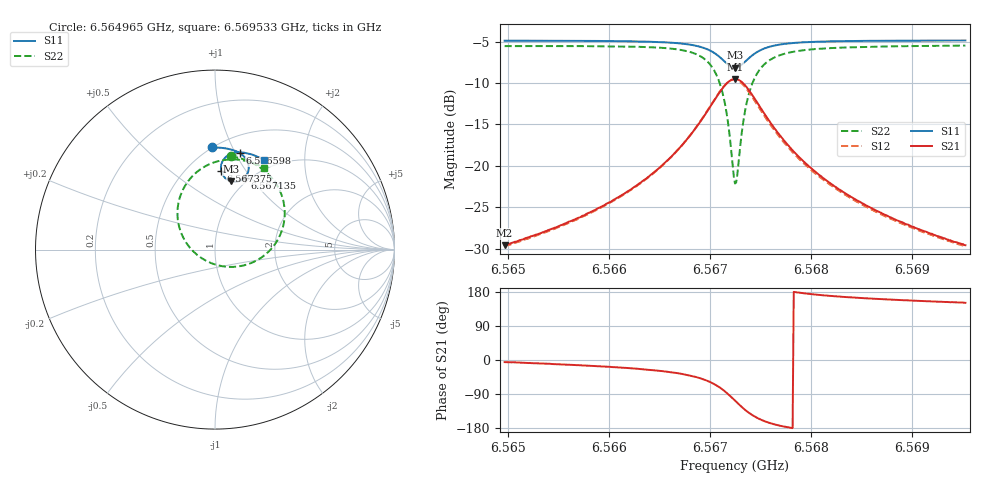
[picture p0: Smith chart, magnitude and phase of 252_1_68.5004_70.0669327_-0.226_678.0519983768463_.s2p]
#  HZ  S  RI  R  50.00
! Rohde & Schwarz Vector Network Analyzer
! Rohde-Schwarz,ZNB20-2Port,1311601062101988,3.16
! Created: UTC 3/20/2024, 5:15:00 PM
! freq[Hz]  re:S11  im:S11  re:S21  im:S21  re:S12  im:S12  re:S22  im:S22
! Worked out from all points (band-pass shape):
!   401 points, 6.564965 GHz to 6.569533 GHz, reference 50 ohm
!   highest |S21| = -9.52 dB at 6.567249 GHz (marker M1); lowest = -29.6 dB at 6.564965 GHz (marker M2)
!   |S21| within 3 dB of the highest: 6.567021 GHz to 6.567478 GHz (456.5 kHz wide, 0.00695 % of centre)
!   lowest |S11| = -8.2 dB at 6.567249 GHz (marker M3), VSWR 2.28, Z = 43.7 + j39.2 ohm
!   |S11| at or under -10 dB: nowhere
!   |S22| runs from -22.1 to -5.5 dB; largest |S21 - S12| = 0.018
!   S11 on the Smith chart (normalised r, x): 6.564965 GHz: 0.50, +0.84; 6.566598 GHz: 0.68, +1.04; 6.567135 GHz: 0.95, +0.93; 6.567375 GHz: 0.72, +0.78; 6.569533 GHz: 0.87, +1.29
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6.5649655e9  -0.0152 0.5689  0.0331 -0.00323  0.0326 -0.00365  0.0887 0.5199
6.5657306e9  0.05 0.5653  0.0483 -0.0123  0.0474 -0.0128  0.1685 0.4997
6.5661645e9  0.0911 0.5571  0.0644 -0.0245  0.0634 -0.0253  0.2276 0.4726
6.5664957e9  0.1276 0.5433  0.0854 -0.0461  0.0842 -0.0471  0.2887 0.4281
6.5665985e9  0.1404 0.5361  0.0944 -0.0582  0.093 -0.0593  0.312 0.4045
6.566804e9  0.1679 0.5115  0.1151 -0.1001  0.1133 -0.1024  0.3642 0.3222
6.5669639e9  0.1863 0.4727  0.1235 -0.1685  0.1201 -0.1724  0.3883 0.1908
6.5670667e9  0.184 0.4317  0.101 -0.2405  0.0939 -0.2457  0.3486 0.0533
6.5671352e9  0.1645 0.4002  0.0529 -0.294  0.041 -0.2977  0.2571 -0.0451
6.5671923e9  0.1329 0.381  -0.0155 -0.3237  -0.0308 -0.3229  0.1292 -0.094
6.5672266e9  0.1086 0.3777  -0.0652 -0.3258  -0.0812 -0.3211  0.0389 -0.0923
6.5672494e9  0.0919 0.3798  -0.0986 -0.3192  -0.1142 -0.3113  -0.0207 -0.0756
6.5672722e9  0.0761 0.3855  -0.1303 -0.3058  -0.1443 -0.2954  -0.0749 -0.0473
6.5673293e9  0.0462 0.412  -0.19 -0.2517  -0.1985 -0.2371  -0.1718 0.0572
6.567375e9  0.0349 0.4382  -0.2139 -0.2002  -0.2175 -0.1853  -0.205 0.1512
6.5674664e9  0.0383 0.4836  -0.2149 -0.1127  -0.2125 -0.1014  -0.1916 0.3037
6.5676034e9  0.0663 0.521  -0.1769 -0.0406  -0.1728 -0.0344  -0.1107 0.424
6.5677633e9  0.0988 0.5372  -0.1358 -0.00674  -0.1323 -0.00355  -0.0264 0.4778
6.5680145e9  0.1378 0.5421  -0.0951 0.0108  -0.0926 0.0121  0.0618 0.5005
6.5683799e9  0.1798 0.5366  -0.0642 0.0164  -0.0626 0.0172  0.1402 0.4996
6.5687796e9  0.2166 0.5258  -0.0463 0.0172  -0.0452 0.0176  0.1967 0.4871
6.5695333e9  0.2755 0.4997  -0.0291 0.0162  -0.0286 0.0162  0.2717 0.4567
